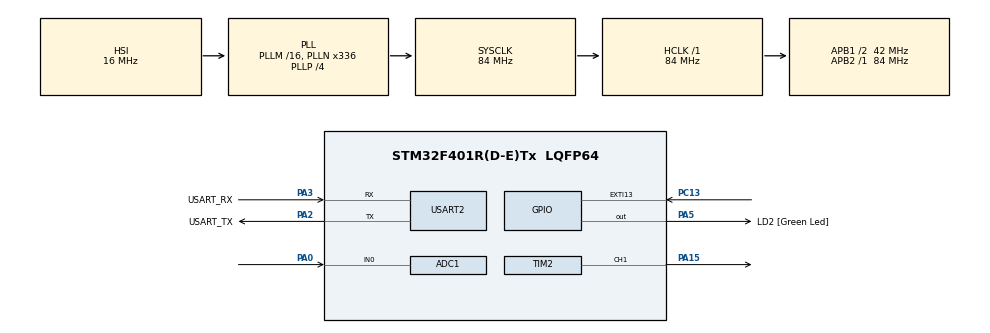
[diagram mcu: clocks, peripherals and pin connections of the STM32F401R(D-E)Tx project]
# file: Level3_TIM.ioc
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ADC1.Channel-0\#ChannelRegularConversion=ADC_CHANNEL_0
ADC1.NbrOfConversionFlag=1
ADC1.Rank-0\#ChannelRegularConversion=1
ADC1.SamplingTime-0\#ChannelRegularConversion=ADC_SAMPLETIME_3CYCLES
ADC1.master=1
Mcu.Family=STM32F4
Mcu.Name=STM32F401R(D-E)Tx
Mcu.Package=LQFP64
NVIC.EXTI15_10_IRQn=true\:0\:0\:false\:false\:true\:true\:true\:true
NVIC.PriorityGroup=NVIC_PRIORITYGROUP_0
NVIC.TIM2_IRQn=true\:0\:0\:false\:false\:true\:true\:true\:true
PA0-WKUP.Signal=ADCx_IN0
PA13.GPIO_Label=TMS
PA13.Signal=SYS_JTMS-SWDIO
PA14.GPIO_Label=TCK
PA14.Signal=SYS_JTCK-SWCLK
PA15.Signal=S_TIM2_CH1_ETR
PA2.GPIO_Label=USART_TX
PA2.GPIO_Mode=GPIO_MODE_AF_PP
PA2.GPIO_PuPd=GPIO_NOPULL
PA2.GPIO_Speed=GPIO_SPEED_FREQ_LOW
PA2.Mode=Asynchronous
PA2.Signal=USART2_TX
PA3.GPIO_Label=USART_RX
PA3.GPIO_Mode=GPIO_MODE_AF_PP
PA3.GPIO_PuPd=GPIO_NOPULL
PA3.GPIO_Speed=GPIO_SPEED_FREQ_LOW
PA3.Mode=Asynchronous
PA3.Signal=USART2_RX
PA5.GPIO_Label=LD2 [Green Led]
PA5.GPIO_Mode=GPIO_MODE_OUTPUT_PP
PA5.GPIO_PuPd=GPIO_NOPULL
PA5.GPIO_Speed=GPIO_SPEED_FREQ_LOW
PA5.Signal=GPIO_Output
PB3.GPIO_Label=SWO
PB3.Signal=SYS_JTDO-SWO
PC13-ANTI_TAMP.Signal=GPXTI13
PC14-OSC32_IN.Signal=RCC_OSC32_IN
PC15-OSC32_OUT.Signal=RCC_OSC32_OUT
PH0\ -\ OSC_IN.Signal=RCC_OSC_IN
PH1\ -\ OSC_OUT.Signal=RCC_OSC_OUT
ProjectManager.HeapSize=0x200
ProjectManager.StackSize=0x400
ProjectManager.TargetToolchain=STM32CubeIDE
RCC.AHBFreq_Value=84000000
RCC.APB1CLKDivider=RCC_HCLK_DIV2
RCC.APB1Freq_Value=42000000
RCC.APB1TimFreq_Value=84000000
RCC.APB2Freq_Value=84000000
RCC.APB2TimFreq_Value=84000000
RCC.CortexFreq_Value=84000000
RCC.HCLKFreq_Value=84000000
RCC.HSE_VALUE=8000000
RCC.HSI_VALUE=16000000
RCC.LSE_VALUE=32768
RCC.PLLN=336
RCC.PLLP=RCC_PLLP_DIV4
RCC.PLLQ=7
RCC.SYSCLKFreq_VALUE=84000000
RCC.SYSCLKSource=RCC_SYSCLKSOURCE_PLLCLK
RCC.VCOOutputFreq_Value=336000000
SH.ADCx_IN0.0=ADC1_IN0,IN0
SH.S_TIM2_CH1_ETR.0=TIM2_CH1,PWM Generation1 CH1
TIM2.Channel-PWM\ Generation1\ CH1=TIM_CHANNEL_1
TIM2.Period=999
TIM2.Prescaler=83
USART2.VirtualMode=VM_ASYNC
VP_TIM2_VS_ClockSourceINT.Mode=Internal
board=NUCLEO-F401RE

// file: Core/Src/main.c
/* USER CODE BEGIN Header */
/**
  ******************************************************************************
  * @file           : main.c
  * @brief          : Main program body
  ******************************************************************************
  * @attention
  *
  * Copyright (c) 2026 STMicroelectronics.
  * All rights reserved.
  *
  * This software is licensed under terms that can be found in the LICENSE file
  * in the root directory of this software component.
  * If no LICENSE file comes with this software, it is provided AS-IS.
  *
  ******************************************************************************
  */
/* USER CODE END Header */
#include "main.h"

/* USER CODE BEGIN Includes */
#include "string.h"
#include "stdio.h"

/* USER CODE END Includes */

ADC_HandleTypeDef hadc1;

TIM_HandleTypeDef htim2;

UART_HandleTypeDef huart2;

void SystemClock_Config(void);
static void MX_GPIO_Init(void);
static void MX_ADC1_Init(void);
static void MX_USART2_UART_Init(void);
static void MX_TIM2_Init(void);

/* USER CODE BEGIN 0 */
uint8_t post = 0x00;
/* USER CODE END 0 */

int main(void)
{

  /* MCU Configuration--------------------------------------------------------*/

  /* Reset of all peripherals, Initializes the Flash interface and the Systick. */
  HAL_Init();

  /* Configure the system clock */
  SystemClock_Config();

  /* Initialize all configured peripherals */
  MX_GPIO_Init();
  MX_ADC1_Init();
  MX_USART2_UART_Init();
  MX_TIM2_Init();
  /* USER CODE BEGIN 2 */
  HAL_TIM_Base_Start_IT(&htim2);
  HAL_TIM_PWM_Start_IT(&htim2, TIM_CHANNEL_1);

  char msg[] = "Button Press Detected!\r\n";
  uint16_t result = 0x0000;
  uint32_t duty = 0x00;
  uint16_t recv = 0x00;
  /* USER CODE END 2 */

  /* Infinite loop */
  while (1)
  {

    /* USER CODE BEGIN 3 */

	  __HAL_TIM_SET_COMPARE(&htim2, TIM_CHANNEL_1, duty);

	  if (post){
		  HAL_GPIO_TogglePin(GPIOA, GPIO_PIN_5);
		  HAL_UART_Transmit(&huart2, (uint8_t *)msg, strlen(msg), 100);

		  HAL_ADC_Start(&hadc1);
		  if (HAL_ADC_PollForConversion(&hadc1, HAL_MAX_DELAY) == HAL_OK){
			  result = HAL_ADC_GetValue(&hadc1);
		  }
		  char buffer[30];
		  int len = sprintf(buffer, "Analog Read: %u\r\n", result);
		  HAL_UART_Transmit(&huart2, (uint8_t *)buffer, len, 100);
		  post = 0x00;

		  duty = (result * 1000) >> 12; //dividing by 4096~~4095
	  }
	  /*else{
		  char buf[30];
		  int len = sprintf(buf, "obtained: %u\r\n", (int)recv);
		  HAL_UART_Transmit(&huart2, (uint8_t *)buf, len, 100);
		  HAL_UART_Receive(&huart2, (uint8_t *)&recv, 2, 100);
		  if (recv<=100 && recv>=0){
			  duty = ((int)(recv-48))*100;
		  }
		  */

	  HAL_Delay(10);
  }
  /* USER CODE END 3 */
}

void SystemClock_Config(void)
{
  RCC_OscInitTypeDef RCC_OscInitStruct = {0};
  RCC_ClkInitTypeDef RCC_ClkInitStruct = {0};

  /** Configure the main internal regulator output voltage
  */
  __HAL_RCC_PWR_CLK_ENABLE();
  __HAL_PWR_VOLTAGESCALING_CONFIG(PWR_REGULATOR_VOLTAGE_SCALE2);

  /** Initializes the RCC Oscillators according to the specified parameters
  * in the RCC_OscInitTypeDef structure.
  */
  RCC_OscInitStruct.OscillatorType = RCC_OSCILLATORTYPE_HSI;
  RCC_OscInitStruct.HSIState = RCC_HSI_ON;
  RCC_OscInitStruct.HSICalibrationValue = RCC_HSICALIBRATION_DEFAULT;
  RCC_OscInitStruct.PLL.PLLState = RCC_PLL_ON;
  RCC_OscInitStruct.PLL.PLLSource = RCC_PLLSOURCE_HSI;
  RCC_OscInitStruct.PLL.PLLM = 16;
  RCC_OscInitStruct.PLL.PLLN = 336;
  RCC_OscInitStruct.PLL.PLLP = RCC_PLLP_DIV4;
  RCC_OscInitStruct.PLL.PLLQ = 7;
  if (HAL_RCC_OscConfig(&RCC_OscInitStruct) != HAL_OK)
  {
    Error_Handler();
  }

  /** Initializes the CPU, AHB and APB buses clocks
  */
  RCC_ClkInitStruct.ClockType = RCC_CLOCKTYPE_HCLK|RCC_CLOCKTYPE_SYSCLK
                              |RCC_CLOCKTYPE_PCLK1|RCC_CLOCKTYPE_PCLK2;
  RCC_ClkInitStruct.SYSCLKSource = RCC_SYSCLKSOURCE_PLLCLK;
  RCC_ClkInitStruct.AHBCLKDivider = RCC_SYSCLK_DIV1;
  RCC_ClkInitStruct.APB1CLKDivider = RCC_HCLK_DIV2;
  RCC_ClkInitStruct.APB2CLKDivider = RCC_HCLK_DIV1;

  if (HAL_RCC_ClockConfig(&RCC_ClkInitStruct, FLASH_LATENCY_2) != HAL_OK)
  {
    Error_Handler();
  }
}

static void MX_ADC1_Init(void)
{

  ADC_ChannelConfTypeDef sConfig = {0};

  /** Configure the global features of the ADC (Clock, Resolution, Data Alignment and number of conversion)
  */
  hadc1.Instance = ADC1;
  hadc1.Init.ClockPrescaler = ADC_CLOCK_SYNC_PCLK_DIV4;
  hadc1.Init.Resolution = ADC_RESOLUTION_12B;
  hadc1.Init.ScanConvMode = DISABLE;
  hadc1.Init.ContinuousConvMode = DISABLE;
  hadc1.Init.DiscontinuousConvMode = DISABLE;
  hadc1.Init.ExternalTrigConvEdge = ADC_EXTERNALTRIGCONVEDGE_NONE;
  hadc1.Init.ExternalTrigConv = ADC_SOFTWARE_START;
  hadc1.Init.DataAlign = ADC_DATAALIGN_RIGHT;
  hadc1.Init.NbrOfConversion = 1;
  hadc1.Init.DMAContinuousRequests = DISABLE;
  hadc1.Init.EOCSelection = ADC_EOC_SINGLE_CONV;
  if (HAL_ADC_Init(&hadc1) != HAL_OK)
  {
    Error_Handler();
  }

  /** Configure for the selected ADC regular channel its corresponding rank in the sequencer and its sample time.
  */
  sConfig.Channel = ADC_CHANNEL_0;
  sConfig.Rank = 1;
  sConfig.SamplingTime = ADC_SAMPLETIME_3CYCLES;
  if (HAL_ADC_ConfigChannel(&hadc1, &sConfig) != HAL_OK)
  {
    Error_Handler();
  }

}

static void MX_TIM2_Init(void)
{

  TIM_ClockConfigTypeDef sClockSourceConfig = {0};
  TIM_MasterConfigTypeDef sMasterConfig = {0};
  TIM_OC_InitTypeDef sConfigOC = {0};

  htim2.Instance = TIM2;
  htim2.Init.Prescaler = 83;
  htim2.Init.CounterMode = TIM_COUNTERMODE_UP;
  htim2.Init.Period = 999999;
  htim2.Init.ClockDivision = TIM_CLOCKDIVISION_DIV1;
  htim2.Init.AutoReloadPreload = TIM_AUTORELOAD_PRELOAD_DISABLE;
  if (HAL_TIM_Base_Init(&htim2) != HAL_OK)
  {
    Error_Handler();
  }
  sClockSourceConfig.ClockSource = TIM_CLOCKSOURCE_INTERNAL;
  if (HAL_TIM_ConfigClockSource(&htim2, &sClockSourceConfig) != HAL_OK)
  {
    Error_Handler();
  }
  if (HAL_TIM_PWM_Init(&htim2) != HAL_OK)
  {
    Error_Handler();
  }
  sMasterConfig.MasterOutputTrigger = TIM_TRGO_RESET;
  sMasterConfig.MasterSlaveMode = TIM_MASTERSLAVEMODE_DISABLE;
  if (HAL_TIMEx_MasterConfigSynchronization(&htim2, &sMasterConfig) != HAL_OK)
  {
    Error_Handler();
  }
  sConfigOC.OCMode = TIM_OCMODE_PWM1;
  sConfigOC.Pulse = 0;
  sConfigOC.OCPolarity = TIM_OCPOLARITY_HIGH;
  sConfigOC.OCFastMode = TIM_OCFAST_DISABLE;
  if (HAL_TIM_PWM_ConfigChannel(&htim2, &sConfigOC, TIM_CHANNEL_1) != HAL_OK)
  {
    Error_Handler();
  }
  HAL_TIM_MspPostInit(&htim2);

}

static void MX_USART2_UART_Init(void)
{

  huart2.Instance = USART2;
  huart2.Init.BaudRate = 115200;
  huart2.Init.WordLength = UART_WORDLENGTH_8B;
  huart2.Init.StopBits = UART_STOPBITS_1;
  huart2.Init.Parity = UART_PARITY_NONE;
  huart2.Init.Mode = UART_MODE_TX_RX;
  huart2.Init.HwFlowCtl = UART_HWCONTROL_NONE;
  huart2.Init.OverSampling = UART_OVERSAMPLING_16;
  if (HAL_UART_Init(&huart2) != HAL_OK)
  {
    Error_Handler();
  }

}

static void MX_GPIO_Init(void)
{
  GPIO_InitTypeDef GPIO_InitStruct = {0};

  /* GPIO Ports Clock Enable */
  __HAL_RCC_GPIOC_CLK_ENABLE();
  __HAL_RCC_GPIOH_CLK_ENABLE();
  __HAL_RCC_GPIOA_CLK_ENABLE();
  __HAL_RCC_GPIOB_CLK_ENABLE();

  /*Configure GPIO pin Output Level */
  HAL_GPIO_WritePin(LD2_GPIO_Port, LD2_Pin, GPIO_PIN_RESET);

  /*Configure GPIO pin : PC13 */
  GPIO_InitStruct.Pin = GPIO_PIN_13;
  GPIO_InitStruct.Mode = GPIO_MODE_IT_RISING;
  GPIO_InitStruct.Pull = GPIO_NOPULL;
  HAL_GPIO_Init(GPIOC, &GPIO_InitStruct);

  /*Configure GPIO pin : LD2_Pin */
  GPIO_InitStruct.Pin = LD2_Pin;
  GPIO_InitStruct.Mode = GPIO_MODE_OUTPUT_PP;
  GPIO_InitStruct.Pull = GPIO_NOPULL;
  GPIO_InitStruct.Speed = GPIO_SPEED_FREQ_LOW;
  HAL_GPIO_Init(LD2_GPIO_Port, &GPIO_InitStruct);

  /* EXTI interrupt init*/
  HAL_NVIC_SetPriority(EXTI15_10_IRQn, 0, 0);
  HAL_NVIC_EnableIRQ(EXTI15_10_IRQn);

}

/* USER CODE BEGIN 4 */
void HAL_GPIO_EXTI_Callback(uint16_t GPIO_Pin){
	if (GPIO_Pin == GPIO_PIN_13){
		post = 0x01;
	}
}

void HAL_TIM_PeriodElapsedCallback(TIM_HandleTypeDef *htim){
	if(htim->Instance == TIM2){
		HAL_GPIO_TogglePin(GPIOA, GPIO_PIN_5);
	}
}

/* USER CODE END 4 */

void Error_Handler(void)
{
  __disable_irq();
  while (1)
  {
  }
}
